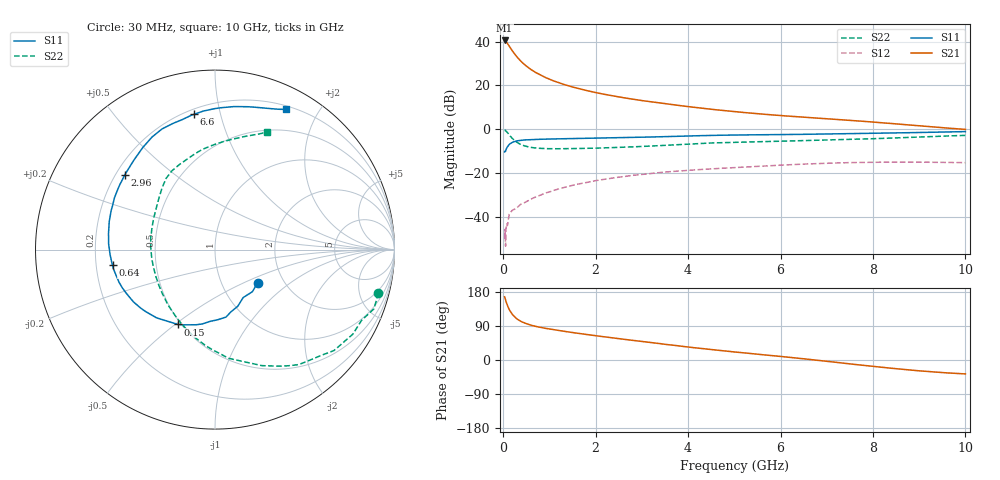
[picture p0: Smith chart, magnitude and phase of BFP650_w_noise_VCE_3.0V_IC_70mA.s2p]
! Infineon Technologies  Discrete & RF Semiconductors
! BFP650
! VCE =  3.0 V,  IC =  70 mA
! Common Emitter S-Parameters:  Jan 2016
# GHz  S  MA  R  50
!  f  S11  S21  S12  S22
! GHz  MAG  ANG  MAG  ANG  MAG  ANG  MAG  ANG
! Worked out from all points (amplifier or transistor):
!   229 points, 30 MHz to 10 GHz, reference 50 ohm
!   highest |S21| = 40.6 dB at 30 MHz (marker M1)
!   |S21| within 3 dB of that: start of sweep to 142.5 MHz
!   unconditionally stable (mu >= 1): 1.589 GHz to end of sweep
!   at 280 MHz: K = 0.55, MSG = 34.8 dB, |S12| = -36.2 dB
!   at 1.78 GHz: K = 1.01, MAG = 20.5 dB, |S12| = -24.5 dB
!   at 10 GHz: K = 1.03, MAG = 6.5 dB, |S12| = -15.3 dB
!   lowest NFmin = 1.15 dB at 450 MHz
!   S11 on the Smith chart (normalised r, x): 30 MHz: 1.48, -0.60; 150 MHz: 0.48, -0.51; 640 MHz: 0.27, -0.07; 2.96 GHz: 0.24, +0.34; 6.6 GHz: 0.23, +0.83; 10 GHz: 0.24, +1.61
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0.03  0.3005 -38.0  106.6 166.9  0.0031 77.5  0.9419 -14.9
0.04  0.3138 -48.3  105.5 162.6  0.0051 81.2  0.9453 -20.4
0.05  0.3099 -59.5  102.4 158.3  0.0021 100.0  0.9067 -25.8
0.06  0.3404 -68.2  101 154.9  0.005 69.0  0.9011 -31.5
0.08  0.3811 -80.8  94.97 147.6  0.0068 93.7  0.8694 -40.3
0.11  0.4206 -99.8  85.47 138.4  0.0087 60.9  0.7928 -53.9
0.15  0.4654 -116.4  73.36 128.8  0.0122 59.4  0.6973 -68.0
0.2  0.5004 -130.5  61.17 119.7  0.014 55.6  0.6107 -82.8
0.24  0.5184 -138.3  53.52 114.5  0.0146 57.1  0.5563 -91.8
0.3  0.5397 -147.3  44.39 108.0  0.016 56.5  0.4981 -103.8
0.36  0.5511 -153.9  37.76 103.4  0.0184 57.2  0.4569 -113.4
0.45  0.5648 -161.2  30.62 98.0  0.0205 56.8  0.4172 -125.2
0.64  0.5777 -171.3  21.76 90.7  0.0262 58.4  0.3765 -143.3
1  0.5937 176.9  13.82 81.7  0.0365 58.8  0.3564 -164.9
1.7  0.6145 161.5  8.102 69.1  0.0574 55.0  0.3616 171.9
2.96  0.6521 140.5  4.563 49.4  0.0908 42.7  0.3991 145.4
3.4  0.6679 133.8  3.937 43.1  0.1017 37.5  0.4202 138.5
5.1  0.735 112.7  2.456 20.1  0.1334 20.2  0.5025 117.5
6.6  0.7627 98.8  1.851 1.9  0.1599 5.4  0.549 100.7
6.8  0.7683 96.8  1.792 -0.7  0.1628 3.2  0.5553 99.0
8.4  0.816 77.3  1.343 -21.8  0.1753 -14.6  0.6237 80.8
10  0.8768 63.0  0.985 -36.7  0.171 -27.4  0.7183 66.1
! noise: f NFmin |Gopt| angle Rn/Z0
0.45  1.15  0.48  -171  0.06
0.9  1.17  0.49  -165  0.06
1.9  1.31  0.52  -151  0.08
2.4  1.4  0.5  -142  0.1
3.5  1.6  0.52  -118  0.17
